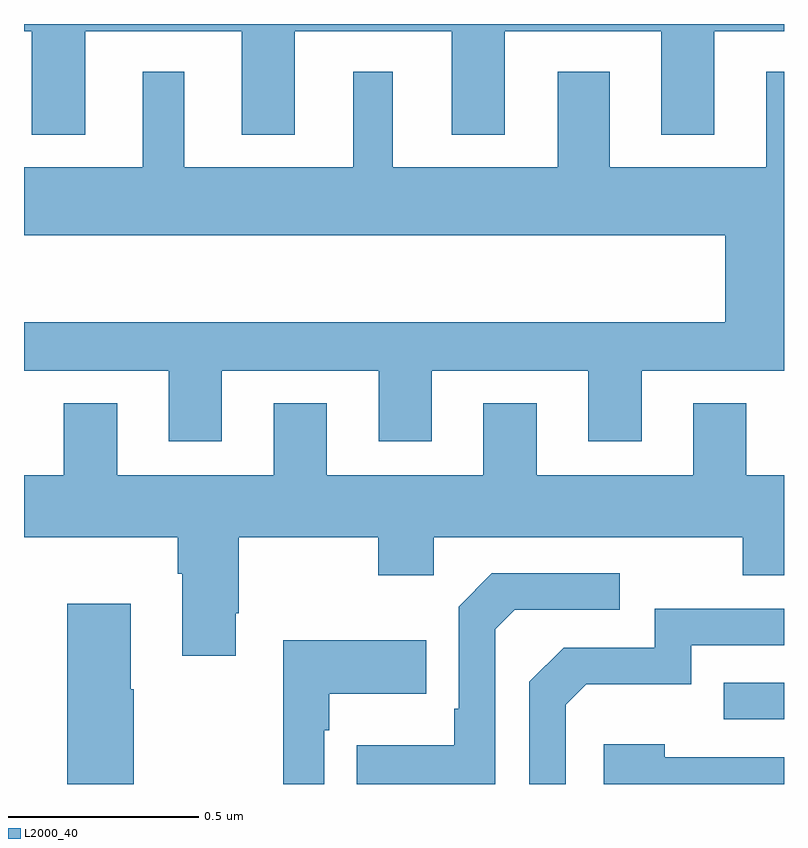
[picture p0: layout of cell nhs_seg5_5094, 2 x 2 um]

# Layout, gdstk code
import gdstk
lib = gdstk.Library(unit=1e-6, precision=1e-09)
def R(c, l, rs):  # rectangles x0, y0, x1, y1
    for r in rs: c.add(gdstk.rectangle(r[:2], r[2:], *l))
def P(c, l, *ps):  # polygons
    for p in ps: c.add(gdstk.Polygon(p, *l))
L2000_40 = (2000, 40)

nhs_seg5_5094 = lib.new_cell('nhs_seg5_5094')
R(nhs_seg5_5094, L2000_40, [(180.841,834.969,181,835.065)])
P(nhs_seg5_5094, L2000_40, [(179.161,836.78),(179.573,836.78),(179.573,836.507),(179.713,836.507),(179.713,836.78),(180.125,836.78),(180.125,836.507),(180.265,836.507),(180.265,836.78),(180.677,836.78),(180.677,836.507),(180.817,836.507),(180.817,836.78),(181,836.78),(181,836.799),(179,836.799),(179,836.78),(179.021,836.78),(179.021,836.507),(179.161,836.507)],
  [(179.521,835.886),(179.933,835.886),(179.933,835.701),(180.073,835.701),(180.073,835.886),(180.485,835.886),(180.485,835.701),(180.625,835.701),(180.625,835.886),(181,835.886),(181,836.674),(180.953,836.674),(180.953,836.422),(180.541,836.422),(180.541,836.674),(180.404,836.674),(180.404,836.422),(179.971,836.422),(179.971,836.674),(179.867,836.674),(179.867,836.422),(179.422,836.422),(179.422,836.674),(179.312,836.674),(179.312,836.422),(179,836.422),(179,836.243),(180.845,836.243),(180.845,836.014),(179,836.014),(179,835.886),(179.381,835.886),(179.381,835.701),(179.521,835.701)],
  [(179.557,835.249),(179.565,835.249),(179.565,835.448),(179.932,835.448),(179.932,835.349),(180.078,835.349),(180.078,835.448),(180.892,835.448),(180.892,835.349),(181,835.349),(181,835.612),(180.901,835.612),(180.901,835.801),(180.761,835.801),(180.761,835.612),(180.349,835.612),(180.349,835.801),(180.209,835.801),(180.209,835.612),(179.797,835.612),(179.797,835.801),(179.657,835.801),(179.657,835.612),(179.245,835.612),(179.245,835.801),(179.105,835.801),(179.105,835.612),(179,835.612),(179,835.448),(179.405,835.448),(179.405,835.352),(179.417,835.352),(179.417,835.137),(179.557,835.137)],
  [(180.24,835.206),(180.291,835.257),(180.568,835.257),(180.568,835.353),(180.231,835.353),(180.144,835.266),(180.144,834.997),(180.132,834.997),(180.132,834.901),(179.875,834.901),(179.875,834.799),(180.24,834.799)],
  [(179.289,835.049),(179.281,835.049),(179.281,835.273),(179.114,835.273),(179.114,834.799),(179.289,834.799)],
  [(180.426,835.008),(180.479,835.061),(180.756,835.061),(180.756,835.164),(181,835.164),(181,835.26),(180.66,835.26),(180.66,835.158),(180.42,835.158),(180.33,835.068),(180.33,834.799),(180.426,834.799)],
  [(179.79,834.941),(179.803,834.941),(179.803,835.037),(180.059,835.037),(180.059,835.177),(179.682,835.177),(179.682,834.799),(179.79,834.799)],
  [(181,834.87),(180.686,834.87),(180.686,834.904),(180.525,834.904),(180.525,834.799),(181,834.799)])

lib.write_gds('nhs_seg5_5094.gds')
